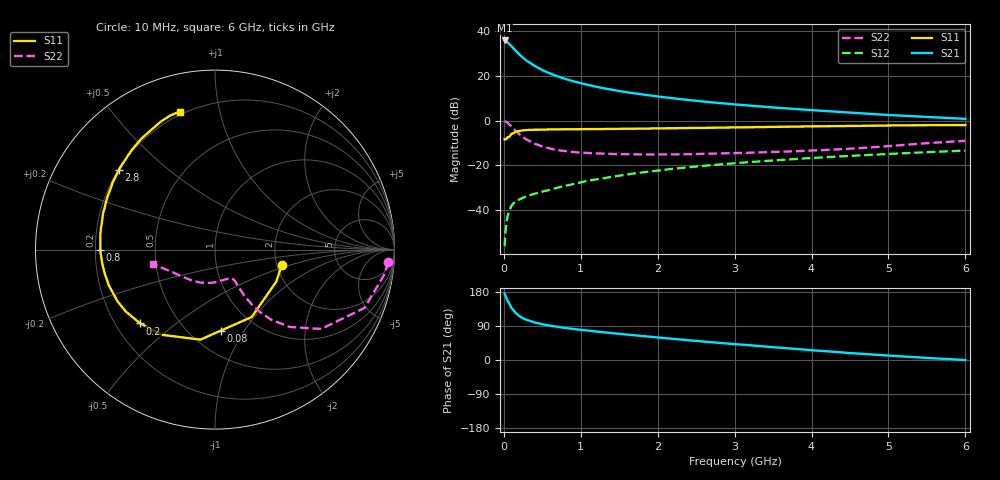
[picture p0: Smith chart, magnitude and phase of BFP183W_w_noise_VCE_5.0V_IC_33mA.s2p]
! Infineon Technologies  Discrete & RF Semiconductors
! BFP183W
! VCE =  5.0 V,  IC =  33 mA
! Common Emitter S-Parameters:  Jan 2017
# GHz  S  MA  R  50
!  f  S11  S21  S12  S22
! GHz  MAG  ANG  MAG  ANG  MAG  ANG  MAG  ANG
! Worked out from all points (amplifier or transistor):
!   77 points, 10 MHz to 6 GHz, reference 50 ohm
!   highest |S21| = 35.6 dB at 10 MHz (marker M1)
!   |S21| within 3 dB of that: start of sweep to 111.9 MHz
!   unconditionally stable (mu >= 1): 866.9 MHz to 3.393 GHz
!   at 130 MHz: K = 0.32, MSG = 34.3 dB, |S12| = -36.7 dB
!   at 2.2 GHz: K = 1.06, MAG = 14.2 dB, |S12| = -21.5 dB
!   at 6 GHz: K = 0.87, MSG = 7.1 dB, |S12| = -13.4 dB
!   lowest NFmin = 1.47 dB at 450 MHz
!   S11 on the Smith chart (normalised r, x): 10 MHz: 2.13, -0.42; 80 MHz: 0.70, -0.79; 200 MHz: 0.30, -0.38; 800 MHz: 0.22, -0.00; 2.8 GHz: 0.20, +0.35; 6 GHz: 0.18, +0.76
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0.01  0.3819 -12.7  60.5 175.3  0.0016 86.4  0.968 -4.1
0.02  0.3854 -27.6  59.49 169.6  0.0031 84.8  0.9518 -8.7
0.05  0.4276 -61.5  55.13 155.6  0.0076 70.0  0.8943 -21.3
0.08  0.4524 -85.8  48.48 145.4  0.0106 63.6  0.7941 -29.8
0.1  0.5081 -99.2  45.09 137.1  0.0127 61.1  0.7392 -36.7
0.15  0.5594 -121.9  36.3 124.8  0.016 52.3  0.5993 -46.0
0.2  0.5855 -135.4  29.61 116.2  0.0174 50.2  0.499 -51.4
0.25  0.6047 -145.1  24.82 110.0  0.0192 48.3  0.4266 -54.4
0.3  0.615 -152.0  21.19 105.5  0.0207 48.9  0.3735 -56.0
0.4  0.6243 -161.5  16.4 98.9  0.0235 50.8  0.3047 -57.5
0.5  0.6288 -167.8  13.27 94.3  0.0262 52.9  0.2645 -57.8
0.6  0.6326 -172.6  11.17 90.6  0.0288 56.5  0.2379 -57.8
0.8  0.6394 -179.9  8.435 84.5  0.0354 59.6  0.2085 -57.5
0.9  0.639 177.1  7.49 82.0  0.0384 59.5  0.1994 -58.0
1.1  0.645 171.9  6.169 77.5  0.0458 62.2  0.1892 -59.0
1.5  0.6535 163.3  4.54 69.1  0.0593 63.2  0.1786 -63.8
2.1  0.6701 151.8  3.274 57.7  0.0806 62.2  0.176 -76.3
2.8  0.6957 140.4  2.451 45.2  0.1051 59.2  0.1851 -94.9
3.1  0.7053 135.9  2.216 40.4  0.1154 57.3  0.1903 -103.2
4.1  0.7442 122.4  1.662 24.4  0.1499 51.3  0.2183 -129.7
5.1  0.7772 111.9  1.302 10.5  0.1834 45.0  0.2776 -154.4
6  0.7933 104.1  1.089 -0.3  0.2145 38.7  0.3533 -167.1
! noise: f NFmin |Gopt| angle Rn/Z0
0.45  1.47  0.28  -179  0.1
0.9  1.51  0.31  -177  0.1
1.9  2  0.46  -156  0.11
2.4  2.24  0.51  -151  0.16
